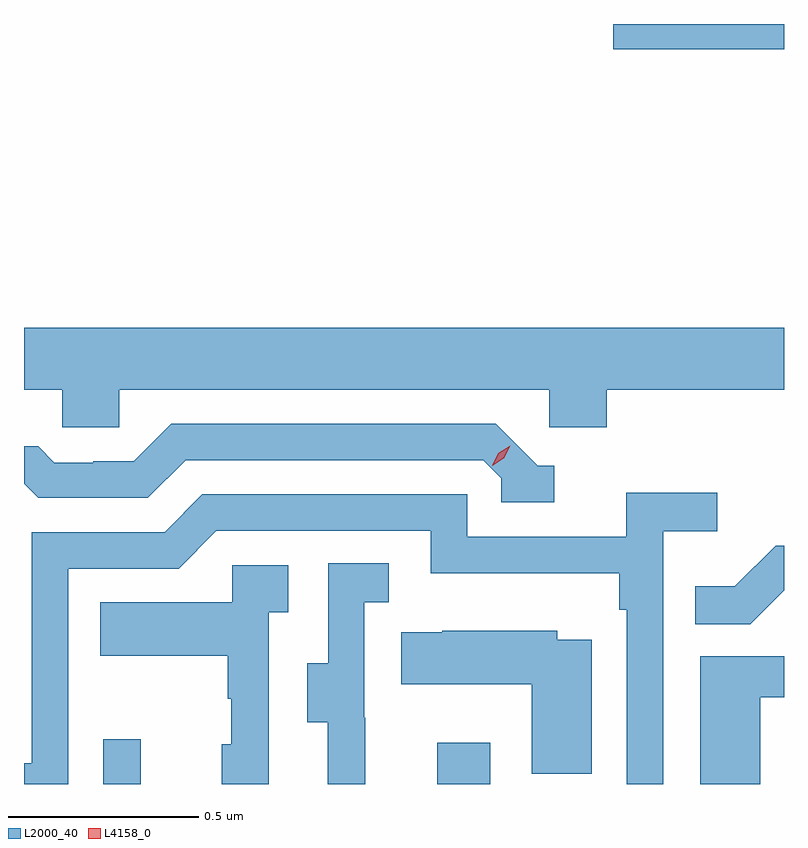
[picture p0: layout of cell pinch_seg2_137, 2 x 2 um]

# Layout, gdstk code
import gdstk
lib = gdstk.Library(unit=1e-6, precision=1e-09)
def R(c, l, rs):  # rectangles x0, y0, x1, y1
    for r in rs: c.add(gdstk.rectangle(r[:2], r[2:], *l))
def P(c, l, *ps):  # polygons
    for p in ps: c.add(gdstk.Polygon(p, *l))
L2000_40 = (2000, 40)
L4158_0 = (4158, 0)

pinch_seg2_137 = lib.new_cell('pinch_seg2_137')
R(pinch_seg2_137, L2000_40, [(1044.003,627.951,1044.101,628.069), (1044.881,627.951,1045.021,628.06), (1045.344,629.885,1045.794,629.951)])
P(pinch_seg2_137, L2000_40, [(1044.045,628.988),(1045.176,628.988),(1045.176,628.89),(1045.328,628.89),(1045.328,628.988),(1045.794,628.988),(1045.794,629.152),(1043.794,629.152),(1043.794,628.988),(1043.895,628.988),(1043.895,628.89),(1044.045,628.89)],
  [(1045.189,628.788),(1045.146,628.788),(1045.035,628.899),(1044.182,628.899),(1044.083,628.8),(1043.976,628.8),(1043.976,628.797),(1043.873,628.797),(1043.831,628.84),(1043.794,628.84),(1043.794,628.741),(1043.831,628.704),(1044.12,628.704),(1044.219,628.803),(1045.002,628.803),(1045.05,628.755),(1045.05,628.692),(1045.189,628.692)],
  [(1043.91,628.518),(1044.201,628.518),(1044.3,628.617),(1044.864,628.617),(1044.864,628.505),(1045.36,628.505),(1045.36,628.409),(1045.38,628.409),(1045.38,627.951),(1045.476,627.951),(1045.476,628.616),(1045.618,628.616),(1045.618,628.718),(1045.379,628.718),(1045.379,628.602),(1044.96,628.602),(1044.96,628.713),(1044.263,628.713),(1044.164,628.614),(1043.814,628.614),(1043.814,628.005),(1043.794,628.005),(1043.794,627.951),(1043.91,627.951)],
  [(1045.794,628.461),(1045.794,628.578),(1045.772,628.578),(1045.665,628.471),(1045.561,628.471),(1045.561,628.372),(1045.705,628.372)],
  [(1044.692,628.125),(1044.69,628.125),(1044.69,628.429),(1044.754,628.429),(1044.754,628.532),(1044.594,628.532),(1044.594,628.269),(1044.539,628.269),(1044.539,628.114),(1044.593,628.114),(1044.593,627.951),(1044.692,627.951)],
  [(1044.438,628.403),(1044.49,628.403),(1044.49,628.527),(1044.342,628.527),(1044.342,628.429),(1043.995,628.429),(1043.995,628.289),(1044.33,628.289),(1044.33,628.175),(1044.34,628.175),(1044.34,628.056),(1044.314,628.056),(1044.314,627.951),(1044.438,627.951)],
  [(1045.288,628.33),(1045.197,628.33),(1045.197,628.354),(1044.895,628.354),(1044.895,628.351),(1044.787,628.351),(1044.787,628.214),(1045.13,628.214),(1045.13,627.978),(1045.288,627.978)],
  [(1045.732,628.179),(1045.794,628.179),(1045.794,628.287),(1045.574,628.287),(1045.574,627.951),(1045.732,627.951)])
P(pinch_seg2_137, L4158_0, [(1045.026,628.789),(1045.026,628.789),(1045.042,628.822),(1045.073,628.841),(1045.073,628.841),(1045.073,628.841),(1045.057,628.808),(1045.026,628.789)])

lib.write_gds('pinch_seg2_137.gds')
